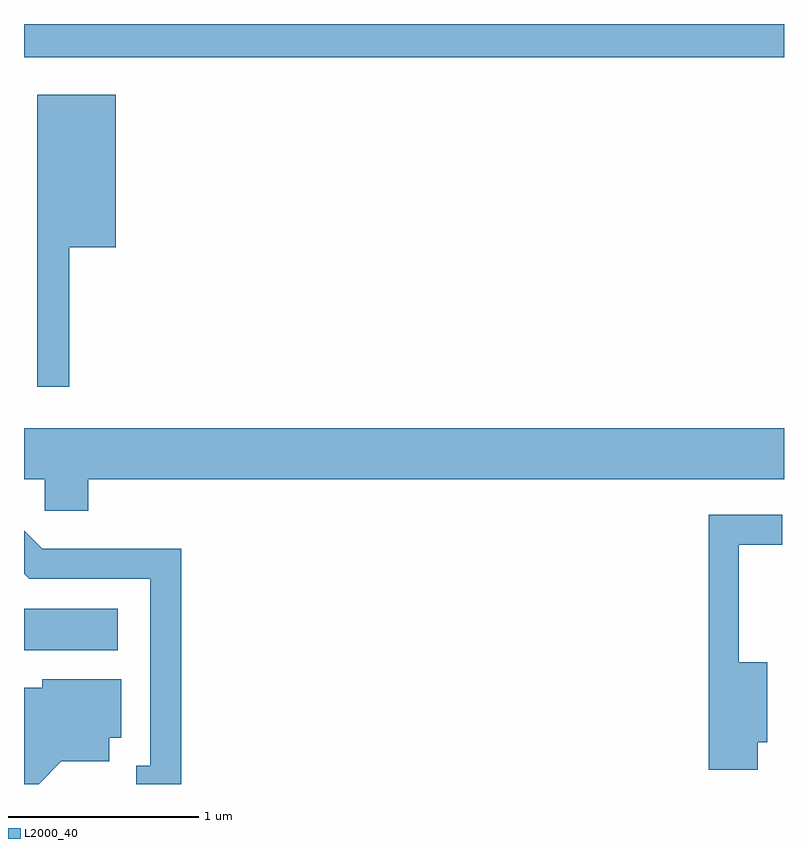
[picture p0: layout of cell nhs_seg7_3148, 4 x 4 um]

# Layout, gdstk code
import gdstk
lib = gdstk.Library(unit=1e-6, precision=1e-09)
def R(c, l, rs):  # rectangles x0, y0, x1, y1
    for r in rs: c.add(gdstk.rectangle(r[:2], r[2:], *l))
def P(c, l, *ps):  # polygons
    for p in ps: c.add(gdstk.Polygon(p, *l))
L2000_40 = (2000, 40)

nhs_seg7_3148 = lib.new_cell('nhs_seg7_3148')
R(nhs_seg7_3148, L2000_40, [(281.611,1728.956,282.104,1729.174), (281.611,1732.076,285.611,1732.252)])
P(nhs_seg7_3148, L2000_40, [(281.849,1731.076),(282.094,1731.076),(282.094,1731.879),(281.681,1731.879),(281.681,1730.343),(281.849,1730.343)],
  [(281.949,1729.856),(285.611,1729.856),(285.611,1730.124),(281.611,1730.124),(281.611,1729.856),(281.721,1729.856),(281.721,1729.691),(281.949,1729.691)],
  [(285.474,1728.471),(285.524,1728.471),(285.524,1728.894),(285.374,1728.894),(285.374,1729.511),(285.603,1729.511),(285.603,1729.669),(285.216,1729.669),(285.216,1728.326),(285.474,1728.326)],
  [(282.439,1729.489),(281.707,1729.489),(281.611,1729.585),(281.611,1729.359),(281.639,1729.331),(282.276,1729.331),(282.276,1728.349),(282.203,1728.349),(282.203,1728.252),(282.439,1728.252)],
  [(281.807,1728.371),(282.059,1728.371),(282.059,1728.496),(282.124,1728.496),(282.124,1728.804),(281.706,1728.804),(281.706,1728.759),(281.611,1728.759),(281.611,1728.252),(281.688,1728.252)])

lib.write_gds('nhs_seg7_3148.gds')
